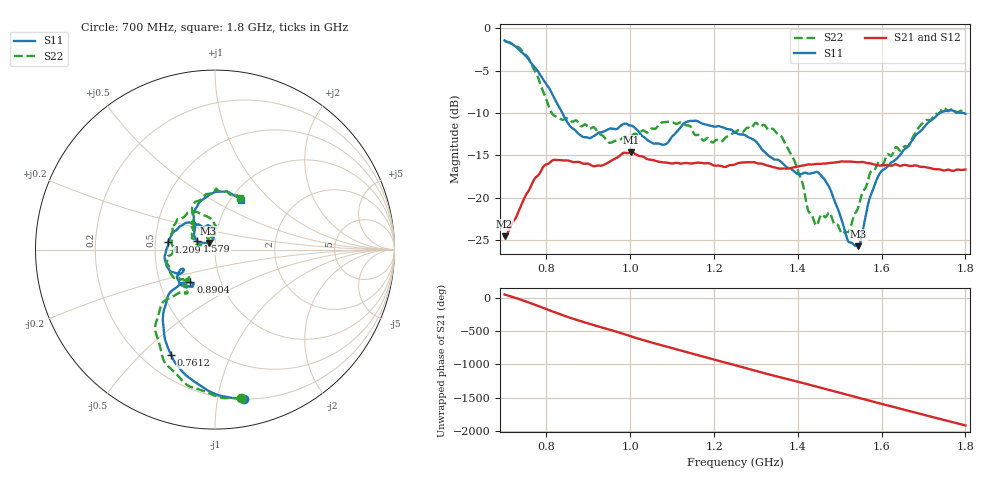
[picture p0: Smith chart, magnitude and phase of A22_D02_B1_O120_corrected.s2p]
! Created with skrf 1.9.0 (http://scikit-rf.org).
# Hz S RI R 50.0
!freq ReS11 ImS11 ReS21 ImS21 ReS12 ImS12 ReS22 ImS22
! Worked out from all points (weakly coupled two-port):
!   1601 points, 700 MHz to 1.8 GHz, reference 50 ohm
!   highest |S21| = -14.64 dB at 1.002 GHz (marker M1); lowest = -24.6 dB at 700 MHz (marker M2)
!   lowest |S11| = -25.7 dB at 1.544 GHz (marker M3), VSWR 1.11, Z = 46.4 + j3.49 ohm
!   |S11| at or under -10 dB: 837.8 MHz to 1.739 GHz (901 MHz wide, 69.9 % of centre); 1.795267 GHz to end of sweep
!   |S22| runs from -24.3 to -1.5 dB; largest |S21 - S12| = 0.0034
!   S11 on the Smith chart (normalised r, x): 700 MHz: 0.20, -1.19; 761.2 MHz: 0.31, -0.62; 890.4 MHz: 0.72, -0.27; 1.209 GHz: 0.58, +0.05; 1.579 GHz: 0.82, +0.08; 1.8 GHz: 1.12, +0.69
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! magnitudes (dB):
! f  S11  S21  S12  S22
! 700 MHz  -1.4  -24.6  -24.3  -1.5
! 761.2 MHz  -3.9  -18.8  -18.7  -3.9
! 814.8 MHz  -7.9  -15.6  -15.7  -10.2
! 883.6 MHz  -12.7  -15.9  -15.8  -11.6
! 890.4 MHz  -12.9  -16.0  -16.0  -11.4
! 950.9 MHz  -11.9  -15.8  -15.8  -13.5
! 1.002 GHz  -11.5  -14.6  -14.7  -12.8
! 1.067 GHz  -13.6  -15.7  -15.7  -11.4
! 1.137 GHz  -11.0  -15.9  -15.9  -11.5
! 1.209 GHz  -11.5  -16.2  -16.3  -13.2
! 1.25 GHz  -12.3  -16.1  -16.0  -12.3
! 1.3 GHz  -13.4  -15.9  -15.9  -11.2
! 1.359 GHz  -15.8  -16.6  -16.6  -12.7
! 1.394 GHz  -17.0  -16.4  -16.4  -15.8
! 1.434 GHz  -17.1  -16.1  -16.1  -22.1
! 1.47 GHz  -18.3  -15.9  -15.9  -22.1
! 1.509 GHz  -23.4  -15.7  -15.7  -24.2
! 1.544 GHz  -25.7  -15.8  -15.8  -21.2
! 1.579 GHz  -19.1  -16.0  -16.0  -16.8
! 1.617 GHz  -16.2  -16.2  -16.1  -14.9
! 1.738 GHz  -10.0  -16.7  -16.7  -10.0
! 1.8 GHz  -10.1  -16.7  -16.7  -9.9
